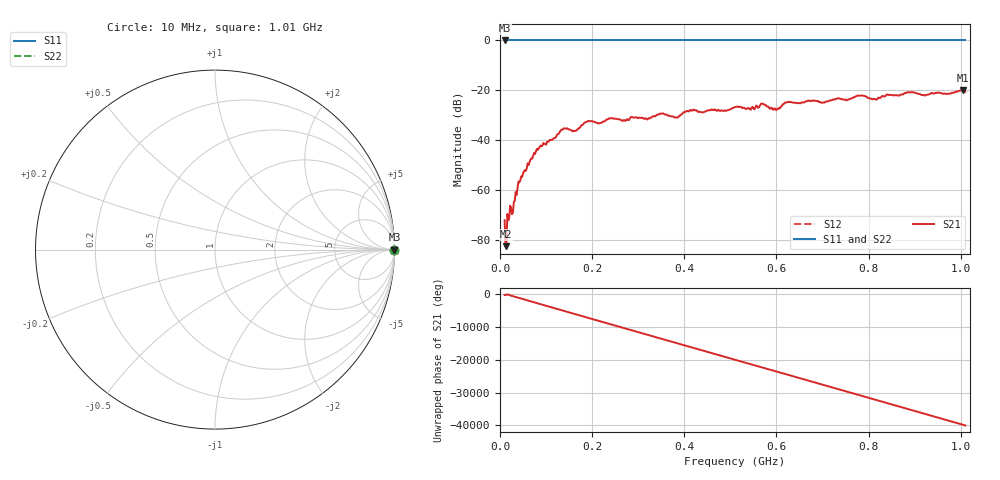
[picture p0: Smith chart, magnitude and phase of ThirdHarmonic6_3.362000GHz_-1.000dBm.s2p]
! 8/17/2025 10:38:31 AM
! C:\ANRITSUVNA\TEMP\TEMP.S2P
! CHANNEL.1
! TR.MEASUREMENT
! RAW.DATA
! RF.CORRECTION.OFF
! AVERAGING.OFF
! IF.BANDWIDTH: 5KHZ
! SWEEPTYPE:  FREQ.SWEEP(Linear)
! Reference Plane Port Info
! PORT:  PORT1  PORT2
! DISTANCE:  0  m  0  m
! TIME:  0  s  0  s
! PHASE.OFFSET:  0  deg.  0  deg.
! LOSS:  0  dB  0  dB
! REF.LOSS:  0  dB  0  dB
! REF.FREQ:  0  Hz  0  Hz
! Power Info
! POWER:  -20  dBm  -20  dBm
! EFF.POWER:  -20  dBm  -20  dBm
! SOURCE.ATTEN:  0  dB  0  dB
! TEST.ATTEN:  0  dB  0  dB
# GHZ S RI R 50.0
! FREQ.GHZ  S11RE  S11IM  S21RE  S21IM  S12RE  S12IM  S22RE  S22IM
!; PortSelection: Port_12
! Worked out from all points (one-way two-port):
!   501 points, 10 MHz to 1.01 GHz, reference 50 ohm
!   highest |S21| = -19.80 dB at 1.004 GHz (marker M1); lowest = -82.3 dB at 12 MHz (marker M2)
!   lowest |S11| = 0.0 dB at 10 MHz (marker M3)
!   |S11| at or under -10 dB: nowhere
!   |S22| runs from 0.0 to 0.0 dB; largest |S21 - S12| = 1.1
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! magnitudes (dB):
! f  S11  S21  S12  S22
! 10 MHz  0.0  -71.9  0.0  0.0
! 12 MHz  0.0  -82.3  0.0  0.0
! 16 MHz  0.0  -69.5  0.0  0.0
! 20 MHz  0.0  -71.0  0.0  0.0
! 28 MHz  0.0  -69.0  0.0  0.0
! 42 MHz  0.0  -56.8  0.0  0.0
! 76 MHz  0.0  -45.4  0.0  0.0
! 136 MHz  0.0  -35.7  0.0  0.0
! 162 MHz  0.0  -36.2  0.0  0.0
! 178 MHz  0.0  -33.8  0.0  0.0
! 344 MHz  0.0  -29.7  0.0  0.0
! 382 MHz  0.0  -30.8  0.0  0.0
! 416 MHz  0.0  -28.1  0.0  0.0
! 510 MHz  0.0  -26.7  0.0  0.0
! 570 MHz  0.0  -25.3  0.0  0.0
! 596 MHz  0.0  -27.2  0.0  0.0
! 622 MHz  0.0  -24.8  0.0  0.0
! 678 MHz  0.0  -24.2  0.0  0.0
! 814 MHz  0.0  -23.5  0.0  0.0
! 844 MHz  0.0  -21.8  0.0  0.0
! 1.004 GHz  0.0  -19.8  0.0  0.0
! 1.01 GHz  0.0  -20.5  0.0  0.0
